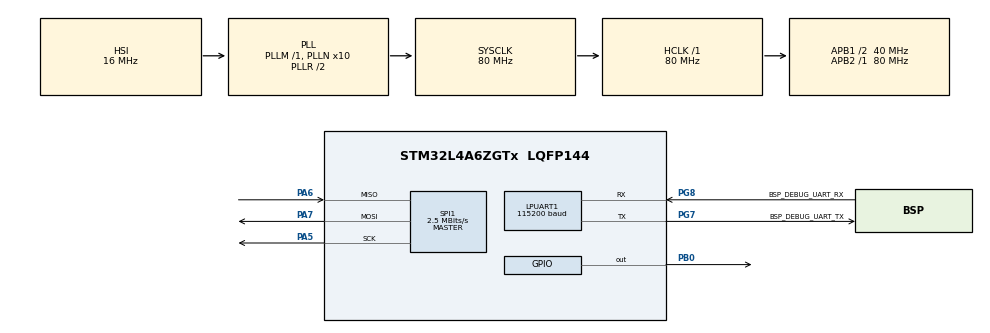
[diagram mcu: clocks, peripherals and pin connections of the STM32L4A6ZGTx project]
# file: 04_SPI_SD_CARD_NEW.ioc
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FATFS._MAX_SS=4096
FATFS._USE_LFN=1
LPUART1.BaudRate=115200
LPUART1.WordLength=UART_WORDLENGTH_8B
Mcu.Family=STM32L4
Mcu.Name=STM32L4A6ZGTx
Mcu.Package=LQFP144
NVIC.PriorityGroup=NVIC_PRIORITYGROUP_4
PA5.Mode=Full_Duplex_Master
PA5.Signal=SPI1_SCK
PA6.Mode=Full_Duplex_Master
PA6.Signal=SPI1_MISO
PA7.Mode=Full_Duplex_Master
PA7.Signal=SPI1_MOSI
PB0.Signal=GPIO_Output
PG7.GPIO_Label=BSP_DEBUG_UART_TX
PG7.Mode=Asynchronous
PG7.Signal=LPUART1_TX
PG8.GPIO_Label=BSP_DEBUG_UART_RX
PG8.Mode=Asynchronous
PG8.Signal=LPUART1_RX
ProjectManager.HeapSize=0x200
ProjectManager.StackSize=0x400
ProjectManager.TargetToolchain=STM32CubeIDE
RCC.ADCFreq_Value=64000000
RCC.AHBFreq_Value=80000000
RCC.APB1CLKDivider=RCC_HCLK_DIV2
RCC.APB1Freq_Value=40000000
RCC.APB1TimFreq_Value=80000000
RCC.APB2Freq_Value=80000000
RCC.APB2TimFreq_Value=80000000
RCC.CortexFreq_Value=80000000
RCC.HCLKFreq_Value=80000000
RCC.HSE_VALUE=8000000
RCC.HSI48_VALUE=48000000
RCC.HSI_VALUE=16000000
RCC.LSE_VALUE=32768
RCC.MSI_VALUE=4000000
RCC.PLLN=10
RCC.PLLSourceVirtual=RCC_PLLSOURCE_HSI
RCC.SYSCLKFreq_VALUE=80000000
RCC.SYSCLKSource=RCC_SYSCLKSOURCE_PLLCLK
RCC.USBFreq_Value=64000000
RCC.VCOOutputFreq_Value=160000000
SPI1.BaudRatePrescaler=SPI_BAUDRATEPRESCALER_32
SPI1.CalculateBaudRate=2.5 MBits/s
SPI1.DataSize=SPI_DATASIZE_8BIT
SPI1.Direction=SPI_DIRECTION_2LINES
SPI1.Mode=SPI_MODE_MASTER
SPI1.VirtualType=VM_MASTER
VP_FATFS_VS_Generic.Mode=User_defined
board=NUCLEO-L4A6ZG

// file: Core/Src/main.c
/* USER CODE BEGIN Header */
/**
  ******************************************************************************
  * @file           : main.c
  * @brief          : Main program body
  ******************************************************************************
  * @attention
  *
  * Copyright (c) 2024 STMicroelectronics.
  * All rights reserved.
  *
  * This software is licensed under terms that can be found in the LICENSE file
  * in the root directory of this software component.
  * If no LICENSE file comes with this software, it is provided AS-IS.
  *
  ******************************************************************************
  */
/* USER CODE END Header */
#include "main.h"
#include "fatfs.h"

/* USER CODE BEGIN Includes */
#include "fatfs_sd.h"
#include "string.h"
#include "stdio.h"
/* USER CODE END Includes */

UART_HandleTypeDef hlpuart1;

SPI_HandleTypeDef hspi1;

/* USER CODE BEGIN PV */

FATFS fs;  // file system
FIL fil; // File
FILINFO fno;
FRESULT fresult;  // result

UINT br, bw;  // File read/write count

/**** capacity related *****/
FATFS *pfs;
DWORD fre_clust;
uint32_t total, free_space;

char buffer[1024];
/* USER CODE END PV */

void SystemClock_Config(void);
static void MX_GPIO_Init(void);
static void MX_LPUART1_UART_Init(void);
static void MX_SPI1_Init(void);
/* USER CODE BEGIN PFP */
void send_uart(char *);
int bufsize(char *);
void clear_buffer(void);
/* USER CODE END PFP */

int main(void)
{

  /* MCU Configuration--------------------------------------------------------*/

  /* Reset of all peripherals, Initializes the Flash interface and the Systick. */
  HAL_Init();

  /* Configure the system clock */
  SystemClock_Config();

  /* Initialize all configured peripherals */
  MX_GPIO_Init();
  MX_LPUART1_UART_Init();
  MX_SPI1_Init();
  MX_FATFS_Init();
  /* USER CODE BEGIN 2 */

  HAL_Delay (500);

	fresult = f_mount(&fs, "/", 1);
	if (fresult != FR_OK)
		send_uart("ERROR!!! in mounting SD CARD...\n\n");
	else
		send_uart("SD CARD mounted successfully...\n\n");

  	/*************** Card capacity details ********************/

  	/* Check free space */
  	f_getfree("", &fre_clust, &pfs);

  	total = (uint32_t)((pfs->n_fatent - 2) * pfs->csize * 0.5);
  	sprintf (buffer, "SD CARD Total Size: \t%lu\n",total);
  	send_uart(buffer);
  	clear_buffer();
  	free_space = (uint32_t)(fre_clust * pfs->csize * 0.5);
  	sprintf (buffer, "SD CARD Free Space: \t%lu\n\n",free_space);
  	send_uart(buffer);
  	clear_buffer();

  	/************* The following operation is using PUTS and GETS *********************/

  	/* Open file to write/ create a file if it doesn't exist */
      fresult = f_open(&fil, "file1.txt", FA_OPEN_ALWAYS | FA_READ | FA_WRITE);

  	/* Writing text */
  	f_puts("This data is from the FILE1.txt. And it was written using ...f_puts... Hello World ", &fil);

  	/* Close file */
  	fresult = f_close(&fil);

  	if (fresult == FR_OK)send_uart ("File1.txt created and the data is written \n");

  	/* Open file to read */
  	fresult = f_open(&fil, "file1.txt", FA_READ);

  	/* Read string from the file */
  	f_gets(buffer, f_size(&fil), &fil);

  	send_uart("File1.txt is opened and it contains the data as shown below\n");
  	send_uart(buffer);
  	send_uart("\n\n");

  	/* Close file */
  	f_close(&fil);

  	clear_buffer();

  	/**************** The following operation is using f_write and f_read **************************/

  	/* Create second file with read write access and open it */
  	fresult = f_open(&fil, "file2.txt", FA_CREATE_ALWAYS | FA_WRITE);

  	/* Writing text */
  	strcpy (buffer, "This is File2.txt, written using ...f_write... and it says Hello to Everyone\n");

  	fresult = f_write(&fil, buffer, bufsize(buffer), &bw);

  	send_uart ("File2.txt created and data is written\n");

  	/* Close file */
  	f_close(&fil);

  	// clearing buffer to show that result obtained is from the file
  	clear_buffer();

  	/* Open second file to read */
  	fresult = f_open(&fil, "file2.txt", FA_READ);
  	if (fresult == FR_OK)send_uart ("file2.txt is open and the data is shown below\n");

  	/* Read data from the file
  	 * Please see the function details for the arguments */
  	f_read (&fil, buffer, f_size(&fil), &br);
  	send_uart(buffer);
  	send_uart("\n\n");

  	/* Close file */
  	f_close(&fil);

  	clear_buffer();

  	/*********************UPDATING an existing file ***************************/

  	/* Open the file with write access */
  	fresult = f_open(&fil, "file2.txt", FA_OPEN_EXISTING | FA_READ | FA_WRITE | FA_OPEN_APPEND);

  	/* Move to offset to the end of the file */
  	fresult = f_lseek(&fil, f_size(&fil));

  	if (fresult == FR_OK)
  		send_uart ("About to update the file2.txt\n");

  	/* write the string to the file */
  	fresult = f_puts("Thank you for updating the file, This is updated data and it should be in the end", &fil);

  	f_close (&fil);

  	clear_buffer();

  	/* Open to read the file */
  	fresult = f_open (&fil, "file2.txt", FA_READ);

  	/* Read string from the file */
  	fresult = f_read (&fil, buffer, f_size(&fil), &br);
  	if (fresult == FR_OK)
  		send_uart ("Below is the data from updated file2.txt\n");
  	send_uart(buffer);
  	send_uart("\n\n");

  	/* Close file */
  	f_close(&fil);

  	clear_buffer();

  	/*************************REMOVING FILES FROM THE DIRECTORY ****************************/

//  	fresult = f_unlink("/file1.txt");
//  	if (fresult == FR_OK) send_uart("file1.txt removed successfully...\n");
//
//  	fresult = f_unlink("/file2.txt");
//  	if (fresult == FR_OK) send_uart("file2.txt removed successfully...\n");
//
//  	/* Unmount SDCARD */
//  	fresult = f_mount(NULL, "/", 1);
//  	if (fresult == FR_OK) send_uart ("SD CARD UNMOUNTED successfully...\n");

  /* USER CODE END 2 */

  /* Infinite loop */
  while (1)
  {

  }
}

void SystemClock_Config(void)
{
  RCC_OscInitTypeDef RCC_OscInitStruct = {0};
  RCC_ClkInitTypeDef RCC_ClkInitStruct = {0};

  /** Configure the main internal regulator output voltage
  */
  if (HAL_PWREx_ControlVoltageScaling(PWR_REGULATOR_VOLTAGE_SCALE1) != HAL_OK)
  {
    Error_Handler();
  }

  /** Initializes the RCC Oscillators according to the specified parameters
  * in the RCC_OscInitTypeDef structure.
  */
  RCC_OscInitStruct.OscillatorType = RCC_OSCILLATORTYPE_HSI;
  RCC_OscInitStruct.HSIState = RCC_HSI_ON;
  RCC_OscInitStruct.HSICalibrationValue = RCC_HSICALIBRATION_DEFAULT;
  RCC_OscInitStruct.PLL.PLLState = RCC_PLL_ON;
  RCC_OscInitStruct.PLL.PLLSource = RCC_PLLSOURCE_HSI;
  RCC_OscInitStruct.PLL.PLLM = 1;
  RCC_OscInitStruct.PLL.PLLN = 10;
  RCC_OscInitStruct.PLL.PLLP = RCC_PLLP_DIV2;
  RCC_OscInitStruct.PLL.PLLQ = RCC_PLLQ_DIV2;
  RCC_OscInitStruct.PLL.PLLR = RCC_PLLR_DIV2;
  if (HAL_RCC_OscConfig(&RCC_OscInitStruct) != HAL_OK)
  {
    Error_Handler();
  }

  /** Initializes the CPU, AHB and APB buses clocks
  */
  RCC_ClkInitStruct.ClockType = RCC_CLOCKTYPE_HCLK|RCC_CLOCKTYPE_SYSCLK
                              |RCC_CLOCKTYPE_PCLK1|RCC_CLOCKTYPE_PCLK2;
  RCC_ClkInitStruct.SYSCLKSource = RCC_SYSCLKSOURCE_PLLCLK;
  RCC_ClkInitStruct.AHBCLKDivider = RCC_SYSCLK_DIV1;
  RCC_ClkInitStruct.APB1CLKDivider = RCC_HCLK_DIV2;
  RCC_ClkInitStruct.APB2CLKDivider = RCC_HCLK_DIV1;

  if (HAL_RCC_ClockConfig(&RCC_ClkInitStruct, FLASH_LATENCY_4) != HAL_OK)
  {
    Error_Handler();
  }
}

static void MX_LPUART1_UART_Init(void)
{

  hlpuart1.Instance = LPUART1;
  hlpuart1.Init.BaudRate = 115200;
  hlpuart1.Init.WordLength = UART_WORDLENGTH_8B;
  hlpuart1.Init.StopBits = UART_STOPBITS_1;
  hlpuart1.Init.Parity = UART_PARITY_NONE;
  hlpuart1.Init.Mode = UART_MODE_TX_RX;
  hlpuart1.Init.HwFlowCtl = UART_HWCONTROL_NONE;
  hlpuart1.Init.OneBitSampling = UART_ONE_BIT_SAMPLE_DISABLE;
  hlpuart1.AdvancedInit.AdvFeatureInit = UART_ADVFEATURE_NO_INIT;
  if (HAL_UART_Init(&hlpuart1) != HAL_OK)
  {
    Error_Handler();
  }

}

static void MX_SPI1_Init(void)
{

  /* SPI1 parameter configuration*/
  hspi1.Instance = SPI1;
  hspi1.Init.Mode = SPI_MODE_MASTER;
  hspi1.Init.Direction = SPI_DIRECTION_2LINES;
  hspi1.Init.DataSize = SPI_DATASIZE_8BIT;
  hspi1.Init.CLKPolarity = SPI_POLARITY_LOW;
  hspi1.Init.CLKPhase = SPI_PHASE_1EDGE;
  hspi1.Init.NSS = SPI_NSS_SOFT;
  hspi1.Init.BaudRatePrescaler = SPI_BAUDRATEPRESCALER_32;
  hspi1.Init.FirstBit = SPI_FIRSTBIT_MSB;
  hspi1.Init.TIMode = SPI_TIMODE_DISABLE;
  hspi1.Init.CRCCalculation = SPI_CRCCALCULATION_DISABLE;
  hspi1.Init.CRCPolynomial = 7;
  hspi1.Init.CRCLength = SPI_CRC_LENGTH_DATASIZE;
  hspi1.Init.NSSPMode = SPI_NSS_PULSE_ENABLE;
  if (HAL_SPI_Init(&hspi1) != HAL_OK)
  {
    Error_Handler();
  }

}

static void MX_GPIO_Init(void)
{
  GPIO_InitTypeDef GPIO_InitStruct = {0};

  /* GPIO Ports Clock Enable */
  __HAL_RCC_GPIOA_CLK_ENABLE();
  __HAL_RCC_GPIOB_CLK_ENABLE();
  __HAL_RCC_GPIOG_CLK_ENABLE();
  HAL_PWREx_EnableVddIO2();

  /*Configure GPIO pin Output Level */
  HAL_GPIO_WritePin(GPIOB, GPIO_PIN_0, GPIO_PIN_RESET);

  /*Configure GPIO pin : PB0 */
  GPIO_InitStruct.Pin = GPIO_PIN_0;
  GPIO_InitStruct.Mode = GPIO_MODE_OUTPUT_PP;
  GPIO_InitStruct.Pull = GPIO_NOPULL;
  GPIO_InitStruct.Speed = GPIO_SPEED_FREQ_LOW;
  HAL_GPIO_Init(GPIOB, &GPIO_InitStruct);

}

/* USER CODE BEGIN 4 */

void send_uart(char *string)
{
	uint8_t len = strlen(string);
	/* Transmit in blocking mode */
	HAL_UART_Transmit(&hlpuart1, (uint8_t *)string, len, HAL_MAX_DELAY);
}

/* To find the size of data in the buffer */
int bufsize(char *buf)
{
	int i = 0;
	while(*buf++ != '\0')
		i++;

	return i;
}

void clear_buffer(void)		//clear buffer
{
	for(int i = 0; i<1024;i++)
	{
		buffer[i] = '\0';
	}
}

/* USER CODE END 4 */

void Error_Handler(void)
{
  __disable_irq();
  while (1)
  {
  }
}
